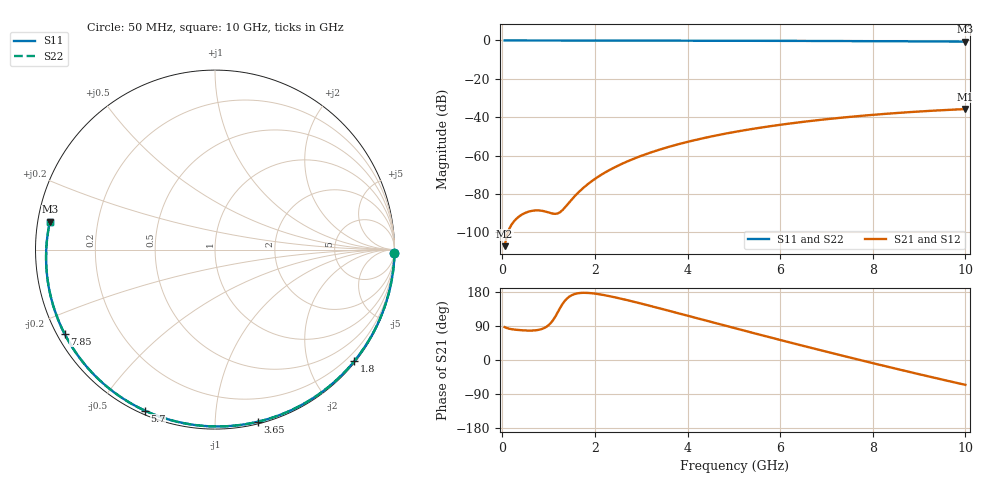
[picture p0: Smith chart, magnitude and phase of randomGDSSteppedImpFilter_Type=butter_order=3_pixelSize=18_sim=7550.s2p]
! freq	dB(S11)	phase(S11)	dB(S12)	phase(S12)
!  dB(S21)	phase(S21)	dB(S22)	phase(S22)
!S-par simulation data
#  GHz  S  DB  R 50
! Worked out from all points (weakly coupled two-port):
!   200 points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, 50 MHz to 10 GHz, reference 50 ohm
!   highest |S21| = -35.75 dB at 10 GHz (marker M1); lowest = -107.2 dB at 50 MHz (marker M2)
!   lowest |S11| = -0.6 dB at 10 GHz (marker M3), VSWR 28.75, Z = 1.75 + j4.21 ohm
!   |S11| at or under -10 dB: nowhere
!   |S22| runs from -0.6 to 0.0 dB; largest |S21 - S12| = 0
!   S11 on the Smith chart (normalised r, x): 50 MHz: open; 1.8 GHz: 0.03, -2.84; 3.65 GHz: 0.02, -1.28; 5.7 GHz: 0.02, -0.65; 7.85 GHz: 0.02, -0.26; 10 GHz: 0.04, +0.08
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0.05  -0.00 -1.1  -107.18 86.8  -107.18 86.8  -0.00 -1.1
0.4  -0.01 -8.8  -91.08 78.7  -91.08 78.7  -0.01 -8.8
0.8  -0.02 -17.5  -88.59 80.0  -88.59 80.0  -0.02 -17.5
1.2  -0.03 -26.1  -90.10 126.5  -90.10 126.5  -0.03 -26.1
1.6  -0.04 -34.6  -80.24 175.3  -80.24 175.3  -0.04 -34.6
1.75  -0.05 -37.7  -76.81 177.3  -76.81 177.3  -0.05 -37.7
1.8  -0.05 -38.8  -75.78 177.3  -75.78 177.3  -0.05 -38.8
2.1  -0.06 -45.0  -70.54 173.4  -70.54 173.4  -0.06 -45.0
2.45  -0.07 -52.2  -65.81 164.9  -65.81 164.9  -0.07 -52.2
2.9  -0.08 -61.3  -61.05 151.9  -61.05 151.9  -0.08 -61.3
3.4  -0.09 -71.1  -56.86 136.3  -56.86 136.3  -0.09 -71.1
3.65  -0.10 -76.0  -55.07 128.3  -55.07 128.3  -0.10 -76.0
4.35  -0.13 -89.2  -50.87 105.6  -50.87 105.6  -0.13 -89.2
5.05  -0.16 -102.0  -47.53 83.1  -47.53 83.1  -0.16 -102.0
5.7  -0.19 -113.6  -44.98 62.3  -44.98 62.3  -0.19 -113.6
6.2  -0.22 -122.3  -43.30 46.6  -43.30 46.6  -0.22 -122.3
6.7  -0.25 -131.0  -41.83 31.1  -41.83 31.1  -0.25 -130.9
7.3  -0.30 -141.3  -40.29 12.7  -40.29 12.7  -0.30 -141.3
7.85  -0.35 -150.8  -39.07 -3.8  -39.07 -3.8  -0.35 -150.8
8.35  -0.40 -159.5  -38.10 -18.6  -38.10 -18.6  -0.40 -159.5
9.2  -0.50 -174.7  -36.73 -43.2  -36.73 -43.2  -0.50 -174.6
10  -0.60 170.4  -35.75 -65.6  -35.75 -65.6  -0.60 170.4
